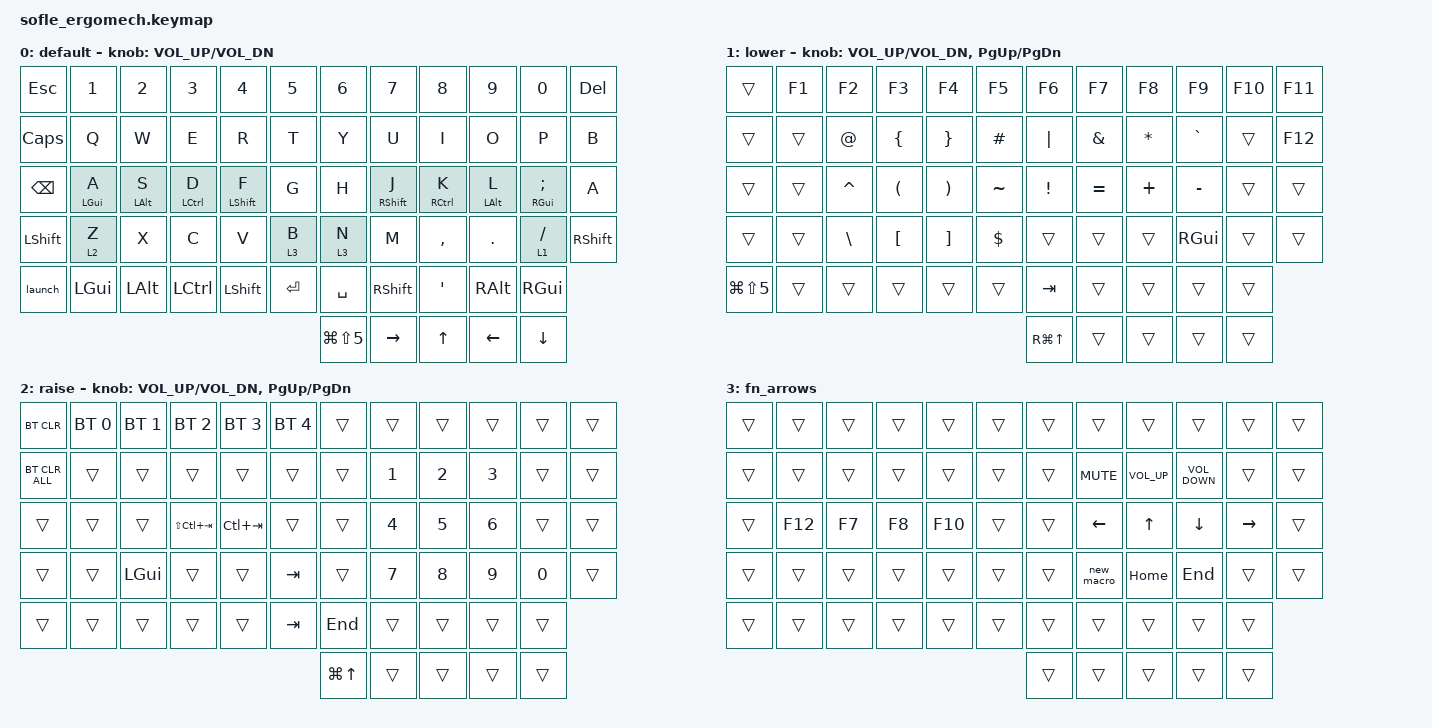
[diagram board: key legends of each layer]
/*
 * Copyright (c) 2020 The ZMK Contributors
 *
 * SPDX-License-Identifier: MIT
 */

#include <behaviors.dtsi>
#include <dt-bindings/zmk/bt.h>
#include <dt-bindings/zmk/keys.h>

#define BASE 0
#define LOWER 1
#define RAISE 2
#define ADJUST 3

/ {
    // Activate ADJUST layer by pressing raise and lower

    conditional_layers { compatible = "zmk,conditional-layers"; };

    behaviors {
        ht2: ht2 {
            compatible = "zmk,behavior-hold-tap";
            label = "HT2";
            bindings = <&kp>, <&kp>;

            #binding-cells = <2>;
            tapping-term-ms = <200>;
            quick-tap-ms = <150>;
            flavor = "balanced";
        };

        launch: launch {
            compatible = "zmk,behavior-tap-dance";
            label = "LAUNCH";
            #binding-cells = <0>;
            bindings = <&kp LC(UP_ARROW)>, <&kp RG(UP_ARROW)>;

            tapping-term-ms = <400>;
        };

        spacecmd: spacecmd {
            compatible = "zmk,behavior-tap-dance";
            label = "SPACECMD";
            #binding-cells = <0>;
            bindings = <&kp SPACE>, <&kp RG(UP_ARROW)>;

            tapping-term-ms = <400>;
        };
    };

    macros {
        new_macro: new_macro {
            compatible = "zmk,behavior-macro";
            #binding-cells = <0>;
            bindings = <&kp RC(E) &kp ENTER>;
            label = "NEW_MACRO";
        };
    };

    combos {
        compatible = "zmk,combos";

        locks {
            bindings = <&kp LC(LG(Q))>;
            key-positions = <53 54>;
        };

        prtscr {
            bindings = <&kp LG(LS(N5))>;
            key-positions = <41 42>;
        };

        entboth {
            bindings = <&kp ENTER>;
            key-positions = <43 44>;
        };

        topesc {
            bindings = <&kp ESCAPE>;
            key-positions = <19 20>;
        };
    };

    keymap {
        compatible = "zmk,keymap";

        default_layer {
            label = "default";

            // ------------------------------------------------------------------------------------------------------------
            // |   `   |  1  |  2  |  3   |  4   |  5   |                   |  6   |  7    |  8    |  9   |   0   |       |
            // |  ESC  |  Q  |  W  |  E   |  R   |  T   |                   |  Y   |  U    |  I    |  O   |   P   | BKSPC |
            // |  TAB  |  A  |  S  |  D   |  F   |  G   |                   |  H   |  J    |  K    |  L   |   ;   |   '   |
            // | SHIFT |  Z  |  X  |  C   |  V   |  B   |  MUTE  |  |       |  N   |  M    |  ,    |  .   |   /   | SHIFT |
            //               | GUI | ALT  | CTRL | LOWER|  ENTER |  | SPACE | RAISE| CTRL  | ALT   | GUI  |

            bindings = <
&kp ESC        &kp N1           &kp N2           &kp N3               &kp N4             &kp N5   &kp N6          &kp N7              &kp N8                &kp N9           &kp N0               &kp DEL
&kp CAPS       &kp Q            &kp W            &kp E                &kp R              &kp T    &kp Y           &kp U               &kp I                 &kp O            &kp P                &kp B
&kp BACKSPACE  &ht2 LEFT_GUI A  &ht2 LEFT_ALT S  &ht2 LEFT_CONTROL D  &ht2 LEFT_SHIFT F  &kp G    &kp H           &ht2 RIGHT_SHIFT J  &ht2 RIGHT_CONTROL K  &ht2 LEFT_ALT L  &ht2 RIGHT_GUI SEMI  &kp A
&kp LSHFT      &lt 2 Z          &kp X            &kp C                &kp V              &lt 3 B  &lt 3 N         &kp M               &kp COMMA             &kp DOT          &lt 1 SLASH          &kp RSHFT
&launch        &kp LGUI         &kp LEFT_ALT     &kp LCTRL            &kp LEFT_SHIFT     &kp RET  &kp SPACE       &kp RIGHT_SHIFT     &kp SINGLE_QUOTE      &kp RIGHT_ALT    &kp RIGHT_GUI
                                                                                                  &kp LG(LS(N5))  &kp RIGHT           &kp UP_ARROW          &kp LEFT         &kp DOWN
            >;

            sensor-bindings = <&inc_dec_kp C_VOL_UP C_VOL_DN>;
        };

        lower_layer {
            label = "lower";

            // TODO: Some binds are waiting for shifted keycode support.
            // ------------------------------------------------------------------------------------------------------------
            // |       |  F1 |  F2 |  F3  |  F4  |  F5  |                   |  F6  |  F7   |  F8   |  F9  |  F10  |  F11  |
            // |   `   |  1  |  2  |  3   |  4   |  5   |                   |  6   |  7    |  8    |  9   |   0   |  F12  |
            // |       |  !  |  @  |  #   |  $   |  %   |                   |  ^   |  &    |  *    |  (   |   )   |   |   |
            // |       |  =  |  -  |  +   |  {   |  }   |        |  |       |  [   |  ]    |  ;    |  :   |   \   |       |
            //               |     |      |      |      |        |  |       |      |       |       |      |

            bindings = <
&trans                &kp F1  &kp F2         &kp F3                &kp F4                 &kp F5      &kp F6            &kp F7     &kp F8        &kp F9         &kp F10  &kp F11
&trans                &trans  &kp AT         &kp LEFT_BRACE        &kp RIGHT_BRACE        &kp POUND   &kp PIPE          &kp AMPS   &kp ASTERISK  &kp GRAVE      &trans   &kp F12
&trans                &trans  &kp CARET      &kp LEFT_PARENTHESIS  &kp RIGHT_PARENTHESIS  &kp TILDE   &kp EXCLAMATION   &kp EQUAL  &kp PLUS      &kp MINUS      &trans   &trans
&trans                &trans  &kp BACKSLASH  &kp LEFT_BRACKET      &kp RIGHT_BRACKET      &kp DOLLAR  &trans            &trans     &trans        &kp RIGHT_GUI  &trans   &trans
&kp LG(LS(NUMBER_5))  &trans  &trans         &trans                &trans                 &trans      &kp TAB           &trans     &trans        &trans         &trans
                                                                                                      &kp RG(UP_ARROW)  &trans     &trans        &trans         &trans
            >;

            sensor-bindings = <&inc_dec_kp C_VOL_UP C_VOL_DN &inc_dec_kp PG_UP PG_DN>;
        };

        raise_layer {
            label = "raise";

            // ------------------------------------------------------------------------------------------------------------
            // | BTCLR | BT1  | BT2  |  BT3  |  BT4  |  BT5 |                |      |      |       |      |       |       |
            // |       | INS  | PSCR | GUI   |       |      |                | PGUP |      |   ^   |      |       |       |
            // |       | ALT  | CTRL | SHIFT |       | CAPS |                | PGDN |   <- |   v   |  ->  |  DEL  | BKSPC |
            // |       | UNDO | CUT  | COPY  | PASTE |      |      |  |      |      |      |       |      |       |       |
            //                |      |       |       |      |      |  |      |      |      |       |      |

            bindings = <
&bt BT_CLR      &bt BT_SEL 0  &bt BT_SEL 1  &bt BT_SEL 2     &bt BT_SEL 3  &bt BT_SEL 4  &trans            &trans        &trans        &trans        &trans  &trans
&bt BT_CLR_ALL  &trans        &trans        &trans           &trans        &trans        &trans            &kp NUMBER_1  &kp NUMBER_2  &kp NUMBER_3  &trans  &trans
&trans          &trans        &trans        &kp LS(LC(TAB))  &kp LC(TAB)   &trans        &trans            &kp NUMBER_4  &kp N5        &kp NUMBER_6  &trans  &trans
&trans          &trans        &kp LEFT_GUI  &trans           &trans        &kp TAB       &trans            &kp N7        &kp N8        &kp N9        &kp N0  &trans
&trans          &trans        &trans        &trans           &trans        &kp TAB       &kp END           &trans        &trans        &trans        &trans
                                                                                         &kp LG(UP_ARROW)  &trans        &trans        &trans        &trans
            >;

            sensor-bindings = <&inc_dec_kp C_VOL_UP C_VOL_DN &inc_dec_kp PG_UP PG_DN>;
        };

        fn_arrows {
            bindings = <
&trans  &trans   &trans  &trans  &trans   &trans  &trans  &trans          &trans           &trans             &trans     &trans
&trans  &trans   &trans  &trans  &trans   &trans  &trans  &kp K_MUTE      &kp C_VOLUME_UP  &kp C_VOLUME_DOWN  &trans     &trans
&trans  &kp F12  &kp F7  &kp F8  &kp F10  &trans  &trans  &kp LEFT_ARROW  &kp UP_ARROW     &kp DOWN_ARROW     &kp RIGHT  &trans
&trans  &trans   &trans  &trans  &trans   &trans  &trans  &new_macro      &kp HOME         &kp END            &trans     &trans
&trans  &trans   &trans  &trans  &trans   &trans  &trans  &trans          &trans           &trans             &trans
                                                  &trans  &trans          &trans           &trans             &trans
            >;
        };
    };
};
